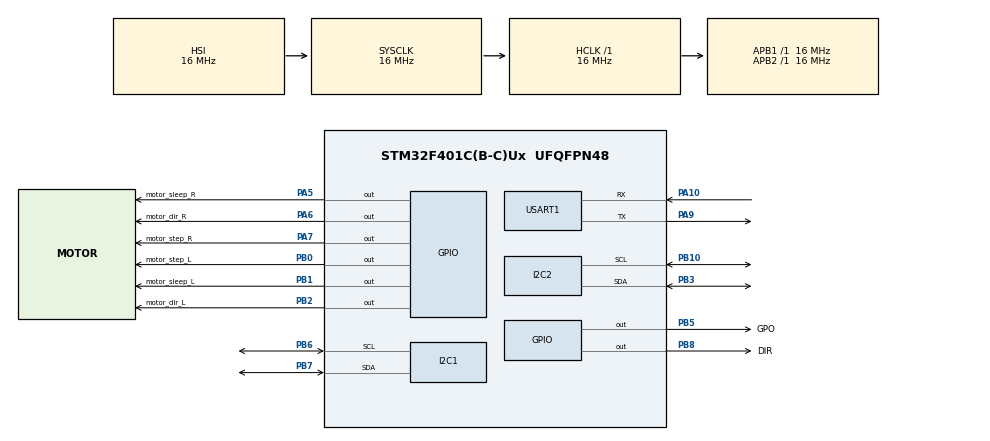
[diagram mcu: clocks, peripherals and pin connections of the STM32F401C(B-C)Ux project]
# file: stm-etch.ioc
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Mcu.Family=STM32F4
Mcu.Name=STM32F401C(B-C)Ux
Mcu.Package=UFQFPN48
NVIC.PriorityGroup=NVIC_PRIORITYGROUP_4
PA10.Mode=Asynchronous
PA10.Signal=USART1_RX
PA13.Mode=Serial_Wire
PA13.Signal=SYS_JTMS-SWDIO
PA14.Mode=Serial_Wire
PA14.Signal=SYS_JTCK-SWCLK
PA5.GPIO_Label=motor_sleep_R
PA5.Signal=GPIO_Output
PA6.GPIO_Label=motor_dir_R
PA6.Signal=GPIO_Output
PA7.GPIO_Label=motor_step_R
PA7.Signal=GPIO_Output
PA9.Mode=Asynchronous
PA9.Signal=USART1_TX
PB0.GPIO_Label=motor_step_L
PB0.Signal=GPIO_Output
PB1.GPIO_Label=motor_sleep_L
PB1.Signal=GPIO_Output
PB10.Mode=I2C
PB10.Signal=I2C2_SCL
PB2.GPIO_Label=motor_dir_L
PB2.Signal=GPIO_Output
PB3.Mode=I2C
PB3.Signal=I2C2_SDA
PB5.GPIO_Label=GPO
PB5.GPIO_PuPd=GPIO_PULLDOWN
PB5.Signal=GPIO_Output
PB6.Mode=I2C
PB6.Signal=I2C1_SCL
PB7.Mode=I2C
PB7.Signal=I2C1_SDA
PB8.GPIO_Label=DIR
PB8.GPIO_PuPd=GPIO_PULLDOWN
PB8.Signal=GPIO_Output
ProjectManager.HeapSize=0x200
ProjectManager.StackSize=0x400
ProjectManager.TargetToolchain=Makefile
RCC.AHBFreq_Value=16000000
RCC.APB1Freq_Value=16000000
RCC.APB2Freq_Value=16000000
RCC.CortexFreq_Value=16000000
RCC.HSE_VALUE=25000000
RCC.HSI_VALUE=16000000
RCC.LSE_VALUE=32768
RCC.SYSCLKFreq_VALUE=16000000
RCC.VCOOutputFreq_Value=192000000
USART1.VirtualMode=VM_ASYNC
board=custom

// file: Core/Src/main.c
/* USER CODE BEGIN Header */
/**
 ******************************************************************************
 * @file           : main.c
 * @brief          : Main program body
 ******************************************************************************
 * @attention
 *
 * Copyright (c) 2023 STMicroelectronics.
 * All rights reserved.
 *
 * This software is licensed under terms that can be found in the LICENSE file
 * in the root directory of this software component.
 * If no LICENSE file comes with this software, it is provided AS-IS.
 *
 ******************************************************************************
 */
/* USER CODE END Header */
#include "main.h"

/* USER CODE BEGIN Includes */
#include "encoder.h"
#include "motor.h"
#include "motor_encoder_pair.h"
#include "stdio.h"
/* USER CODE END Includes */

I2C_HandleTypeDef hi2c1;
I2C_HandleTypeDef hi2c2;

UART_HandleTypeDef huart1;

void SystemClock_Config(void);
static void MX_GPIO_Init(void);
static void MX_I2C1_Init(void);
static void MX_USART1_UART_Init(void);
static void MX_I2C2_Init(void);

int main(void)
{
  /* USER CODE BEGIN 1 */
  encoder_t encoder_L = {.address = 0x36, .hi2c = &hi2c1};
  encoder_t encoder_R = {.address = 0x36, .hi2c = &hi2c2};

  motor_t motor_L = {
      .step_port = motor_step_L_GPIO_Port,
      .dir_port = motor_dir_L_GPIO_Port,
      .sleep_port = motor_sleep_L_GPIO_Port,
      .step_pin = motor_step_L_Pin,
      .dir_pin = motor_dir_L_Pin,
      .sleep_pin = motor_sleep_L_Pin,
      .positive_dir = CW};
  motor_t motor_R = {
      .step_port = motor_step_R_GPIO_Port,
      .dir_port = motor_dir_R_GPIO_Port,
      .sleep_port = motor_sleep_R_GPIO_Port,
      .step_pin = motor_step_R_Pin,
      .dir_pin = motor_dir_R_Pin,
      .sleep_pin = motor_sleep_R_Pin,
      .positive_dir = CCW};
  motor_encoder_pair_t knob_L = {.motor = &motor_L, .encoder = &encoder_L};
  motor_encoder_pair_t knob_R = {.motor = &motor_R, .encoder = &encoder_R};

  /* USER CODE END 1 */

  /* MCU Configuration--------------------------------------------------------*/

  /* Reset of all peripherals, Initializes the Flash interface and the Systick. */
  HAL_Init();

  /* Configure the system clock */
  SystemClock_Config();

  /* Initialize all configured peripherals */
  MX_GPIO_Init();
  MX_I2C1_Init();
  MX_USART1_UART_Init();
  MX_I2C2_Init();
  /* USER CODE BEGIN 2 */
  init_motor_encoder_pair(&knob_L);
  init_motor_encoder_pair(&knob_R);

  int steps = 0;
  int dir = 1;
  /* USER CODE END 2 */

  /* Infinite loop */
  /* USER CODE BEGIN WHILE */
  while (1)
  {

    if (steps > 200)
      dir = 0;
    else if (steps < 0)
      dir = 1;
    steps += (dir) ? 1 : -1;
    step_motor(knob_L.motor, dir);
    step_motor(knob_R.motor, dir);
    HAL_Delay(1);

    update_angle(knob_L.encoder);
    update_angle(knob_R.encoder);

    uint16_t angle_L = get_curr_angle(knob_L.encoder);
    uint16_t angle_R = get_curr_angle(knob_R.encoder);

    char str[20] = {0};
    int data_stored = sprintf(str, "Angle: %d %d\n", angle_L, angle_R);
    HAL_UART_Transmit(&huart1, (uint8_t *)str, data_stored + 1, HAL_MAX_DELAY);

    /* USER CODE END WHILE */

  }
}

void SystemClock_Config(void)
{
  RCC_OscInitTypeDef RCC_OscInitStruct = {0};
  RCC_ClkInitTypeDef RCC_ClkInitStruct = {0};

  /** Configure the main internal regulator output voltage
   */
  __HAL_RCC_PWR_CLK_ENABLE();
  __HAL_PWR_VOLTAGESCALING_CONFIG(PWR_REGULATOR_VOLTAGE_SCALE2);

  /** Initializes the RCC Oscillators according to the specified parameters
   * in the RCC_OscInitTypeDef structure.
   */
  RCC_OscInitStruct.OscillatorType = RCC_OSCILLATORTYPE_HSI;
  RCC_OscInitStruct.HSIState = RCC_HSI_ON;
  RCC_OscInitStruct.HSICalibrationValue = RCC_HSICALIBRATION_DEFAULT;
  RCC_OscInitStruct.PLL.PLLState = RCC_PLL_NONE;
  if (HAL_RCC_OscConfig(&RCC_OscInitStruct) != HAL_OK)
  {
    Error_Handler();
  }

  /** Initializes the CPU, AHB and APB buses clocks
   */
  RCC_ClkInitStruct.ClockType = RCC_CLOCKTYPE_HCLK | RCC_CLOCKTYPE_SYSCLK | RCC_CLOCKTYPE_PCLK1 | RCC_CLOCKTYPE_PCLK2;
  RCC_ClkInitStruct.SYSCLKSource = RCC_SYSCLKSOURCE_HSI;
  RCC_ClkInitStruct.AHBCLKDivider = RCC_SYSCLK_DIV1;
  RCC_ClkInitStruct.APB1CLKDivider = RCC_HCLK_DIV1;
  RCC_ClkInitStruct.APB2CLKDivider = RCC_HCLK_DIV1;

  if (HAL_RCC_ClockConfig(&RCC_ClkInitStruct, FLASH_LATENCY_0) != HAL_OK)
  {
    Error_Handler();
  }
}

static void MX_I2C1_Init(void)
{

  hi2c1.Instance = I2C1;
  hi2c1.Init.ClockSpeed = 100000;
  hi2c1.Init.DutyCycle = I2C_DUTYCYCLE_2;
  hi2c1.Init.OwnAddress1 = 0;
  hi2c1.Init.AddressingMode = I2C_ADDRESSINGMODE_7BIT;
  hi2c1.Init.DualAddressMode = I2C_DUALADDRESS_DISABLE;
  hi2c1.Init.OwnAddress2 = 0;
  hi2c1.Init.GeneralCallMode = I2C_GENERALCALL_DISABLE;
  hi2c1.Init.NoStretchMode = I2C_NOSTRETCH_DISABLE;
  if (HAL_I2C_Init(&hi2c1) != HAL_OK)
  {
    Error_Handler();
  }
}

static void MX_I2C2_Init(void)
{

  hi2c2.Instance = I2C2;
  hi2c2.Init.ClockSpeed = 100000;
  hi2c2.Init.DutyCycle = I2C_DUTYCYCLE_2;
  hi2c2.Init.OwnAddress1 = 0;
  hi2c2.Init.AddressingMode = I2C_ADDRESSINGMODE_7BIT;
  hi2c2.Init.DualAddressMode = I2C_DUALADDRESS_DISABLE;
  hi2c2.Init.OwnAddress2 = 0;
  hi2c2.Init.GeneralCallMode = I2C_GENERALCALL_DISABLE;
  hi2c2.Init.NoStretchMode = I2C_NOSTRETCH_DISABLE;
  if (HAL_I2C_Init(&hi2c2) != HAL_OK)
  {
    Error_Handler();
  }
}

static void MX_USART1_UART_Init(void)
{

  huart1.Instance = USART1;
  huart1.Init.BaudRate = 115200;
  huart1.Init.WordLength = UART_WORDLENGTH_8B;
  huart1.Init.StopBits = UART_STOPBITS_1;
  huart1.Init.Parity = UART_PARITY_NONE;
  huart1.Init.Mode = UART_MODE_TX_RX;
  huart1.Init.HwFlowCtl = UART_HWCONTROL_NONE;
  huart1.Init.OverSampling = UART_OVERSAMPLING_16;
  if (HAL_UART_Init(&huart1) != HAL_OK)
  {
    Error_Handler();
  }
}

static void MX_GPIO_Init(void)
{
  GPIO_InitTypeDef GPIO_InitStruct = {0};

  /* GPIO Ports Clock Enable */
  __HAL_RCC_GPIOA_CLK_ENABLE();
  __HAL_RCC_GPIOB_CLK_ENABLE();

  /*Configure GPIO pin Output Level */
  HAL_GPIO_WritePin(GPIOA, motor_sleep_R_Pin | motor_dir_R_Pin | motor_step_R_Pin, GPIO_PIN_RESET);

  /*Configure GPIO pin Output Level */
  HAL_GPIO_WritePin(GPIOB, motor_step_L_Pin | motor_sleep_L_Pin | motor_dir_L_Pin | GPO_Pin | DIR_Pin, GPIO_PIN_RESET);

  /*Configure GPIO pins : motor_sleep_R_Pin motor_dir_R_Pin motor_step_R_Pin */
  GPIO_InitStruct.Pin = motor_sleep_R_Pin | motor_dir_R_Pin | motor_step_R_Pin;
  GPIO_InitStruct.Mode = GPIO_MODE_OUTPUT_PP;
  GPIO_InitStruct.Pull = GPIO_NOPULL;
  GPIO_InitStruct.Speed = GPIO_SPEED_FREQ_LOW;
  HAL_GPIO_Init(GPIOA, &GPIO_InitStruct);

  /*Configure GPIO pins : motor_step_L_Pin motor_sleep_L_Pin motor_dir_L_Pin */
  GPIO_InitStruct.Pin = motor_step_L_Pin | motor_sleep_L_Pin | motor_dir_L_Pin;
  GPIO_InitStruct.Mode = GPIO_MODE_OUTPUT_PP;
  GPIO_InitStruct.Pull = GPIO_NOPULL;
  GPIO_InitStruct.Speed = GPIO_SPEED_FREQ_LOW;
  HAL_GPIO_Init(GPIOB, &GPIO_InitStruct);

  /*Configure GPIO pins : GPO_Pin DIR_Pin */
  GPIO_InitStruct.Pin = GPO_Pin | DIR_Pin;
  GPIO_InitStruct.Mode = GPIO_MODE_OUTPUT_PP;
  GPIO_InitStruct.Pull = GPIO_PULLDOWN;
  GPIO_InitStruct.Speed = GPIO_SPEED_FREQ_LOW;
  HAL_GPIO_Init(GPIOB, &GPIO_InitStruct);

}

void Error_Handler(void)
{
  __disable_irq();
  while (1)
  {
  }
}
